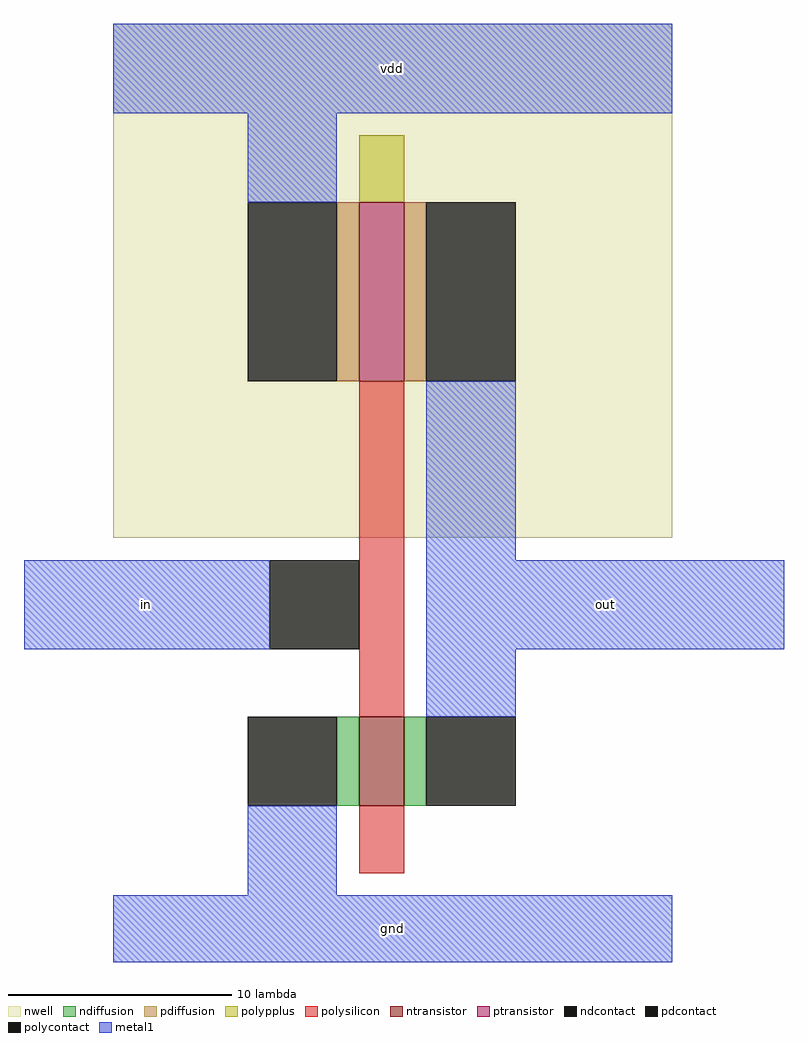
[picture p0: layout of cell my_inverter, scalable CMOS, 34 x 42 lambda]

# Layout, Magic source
magic
tech scmos
<< nwell >>
rect -5 -8 20 15
<< ntransistor >>
rect 6 -20 8 -16
<< ptransistor >>
rect 6 -1 8 7
<< ndiffusion >>
rect 5 -20 6 -16
rect 8 -20 9 -16
<< pdiffusion >>
rect 5 -1 6 7
rect 8 -1 9 7
<< ndcontact >>
rect 1 -20 5 -16
rect 9 -20 13 -16
<< pdcontact >>
rect 1 -1 5 7
rect 9 -1 13 7
<< polysilicon >>
rect 6 -16 8 -1
rect 6 -23 8 -20
<< polycontact >>
rect 2 -13 6 -9
<< polypplus >>
rect 6 7 8 10
<< metal1 >>
rect -5 11 20 15
rect 1 7 5 11
rect 9 -9 13 -1
rect -9 -13 2 -9
rect 9 -13 25 -9
rect 9 -16 13 -13
rect 1 -24 5 -20
rect -5 -27 20 -24
<< labels >>
rlabel metal1 -9 -13 2 -9 1 in
rlabel metal1 9 -13 25 -9 1 out
rlabel metal1 -5 -27 20 -24 1 gnd
rlabel metal1 -5 11 20 15 5 vdd
<< end >>
